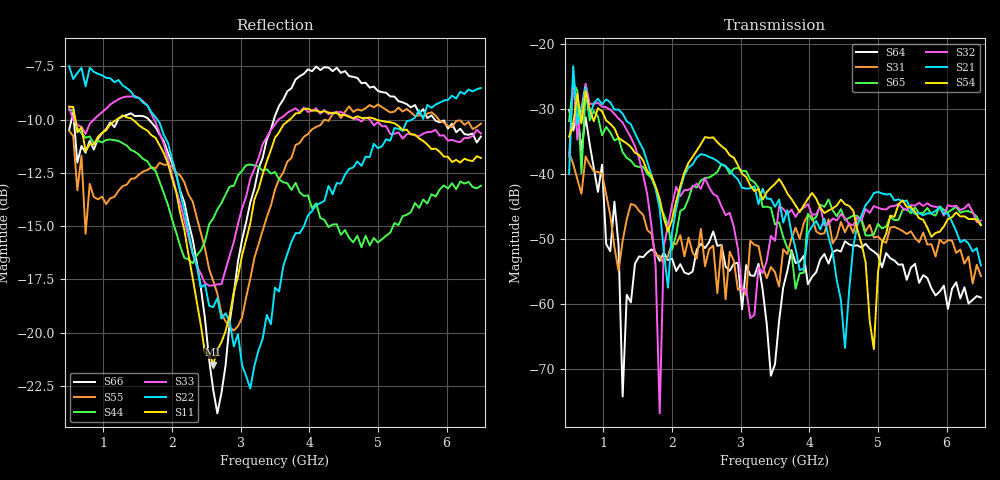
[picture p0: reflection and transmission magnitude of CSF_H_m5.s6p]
!Keysight Technologies,M9804A,MY58100912,A.14.10.03
!Date: Thursday, April 27, 2023 10:28:33
!Correction: S11(C  6-Port  )
!S12(C  6-Port  )
!S13(C  6-Port  )
!S14(C  6-Port  )
!S15(C  6-Port  )
!S16(C  6-Port  )
!S21(C  6-Port  )
!S22(C  6-Port  )
!S23(C  6-Port  )
!S24(C  6-Port  )
!S25(C  6-Port  )
!S26(C  6-Port  )
!S31(C  6-Port  )
!S32(C  6-Port  )
!S33(C  6-Port  )
!S34(C  6-Port  )
!S35(C  6-Port  )
!S36(C  6-Port  )
!S41(C  6-Port  )
!S42(C  6-Port  )
!S43(C  6-Port  )
!S44(C  6-Port  )
!S45(C  6-Port  )
!S46(C  6-Port  )
!S51(C  6-Port  )
!S52(C  6-Port  )
!S53(C  6-Port  )
!S54(C  6-Port  )
!S55(C  6-Port  )
!S56(C  6-Port  )
!S61(C  6-Port  )
!S62(C  6-Port  )
!S63(C  6-Port  )
!S64(C  6-Port  )
!S65(C  6-Port  )
!S66(C  6-Port  )
!S6P File: Measurement: :
# Hz S  RI  R 50
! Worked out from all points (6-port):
!   101 points, 500 MHz to 6.5 GHz, reference 50 ohm
!   strongest paths, dB at 500 MHz, 2 GHz, 3.5 GHz, 5 GHz, 6.5 GHz:
!     S54: -34.2, -47.0, -41.5, -55.2, -47.9
!     S21: -40.0, -49.0, -45.0, -42.7, -54.1
!     S32: -37.3, -44.7, -50.3, -45.2, -47.1
!     S65: -31.8, -51.6, -47.7, -47.7, -47.7
!     S31: -36.7, -50.5, -55.1, -49.6, -55.7
!     S64: -30.1, -53.0, -69.3, -52.5, -59.0
!   lowest |S11| = -21.5 dB at 2.6 GHz (marker M1), VSWR 1.18, Z = 42.5 + j2.17 ohm
!   |S11| at or under -10 dB: 589.6 MHz to 1.193 GHz (603.8 MHz wide, 67.7 % of centre); 1.425 GHz to 3.714 GHz (2.289 GHz wide, 89.1 % of centre); 4.977 GHz to end of sweep
